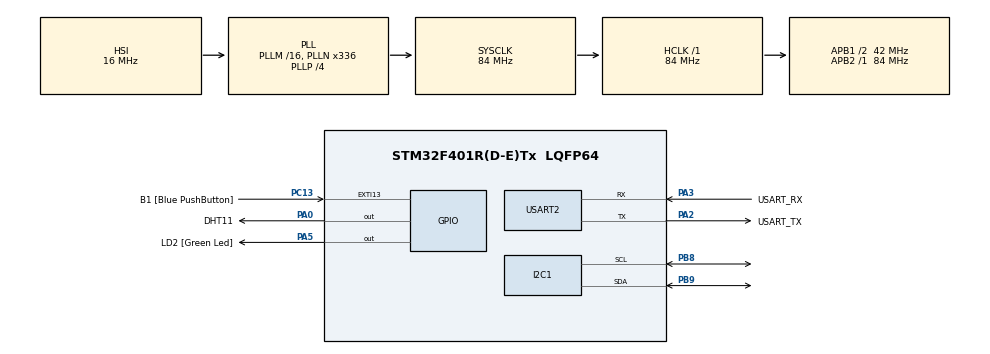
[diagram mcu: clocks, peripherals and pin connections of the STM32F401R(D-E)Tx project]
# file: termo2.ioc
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Mcu.Family=STM32F4
Mcu.Name=STM32F401R(D-E)Tx
Mcu.Package=LQFP64
NVIC.PriorityGroup=NVIC_PRIORITYGROUP_0
NVIC.TIM2_IRQn=true\:0\:0\:false\:false\:true\:true\:true\:true
PA0-WKUP.GPIO_Label=DHT11
PA0-WKUP.Signal=GPIO_Output
PA13.GPIO_Label=TMS
PA13.Mode=Serial_Wire
PA13.Signal=SYS_JTMS-SWDIO
PA14.GPIO_Label=TCK
PA14.Mode=Serial_Wire
PA14.Signal=SYS_JTCK-SWCLK
PA2.GPIO_Label=USART_TX
PA2.GPIO_Mode=GPIO_MODE_AF_PP
PA2.GPIO_PuPd=GPIO_NOPULL
PA2.GPIO_Speed=GPIO_SPEED_FREQ_LOW
PA2.Mode=Asynchronous
PA2.Signal=USART2_TX
PA3.GPIO_Label=USART_RX
PA3.GPIO_Mode=GPIO_MODE_AF_PP
PA3.GPIO_PuPd=GPIO_NOPULL
PA3.GPIO_Speed=GPIO_SPEED_FREQ_LOW
PA3.Mode=Asynchronous
PA3.Signal=USART2_RX
PA5.GPIO_Label=LD2 [Green Led]
PA5.GPIO_Mode=GPIO_MODE_OUTPUT_PP
PA5.GPIO_PuPd=GPIO_NOPULL
PA5.GPIO_Speed=GPIO_SPEED_FREQ_LOW
PA5.Signal=GPIO_Output
PB3.GPIO_Label=SWO
PB3.Signal=SYS_JTDO-SWO
PB8.Mode=I2C
PB8.Signal=I2C1_SCL
PB9.Mode=I2C
PB9.Signal=I2C1_SDA
PC13-ANTI_TAMP.GPIO_Label=B1 [Blue PushButton]
PC13-ANTI_TAMP.GPIO_ModeDefaultEXTI=GPIO_MODE_IT_FALLING
PC13-ANTI_TAMP.GPIO_PuPd=GPIO_NOPULL
PC13-ANTI_TAMP.Signal=GPXTI13
PC14-OSC32_IN.Mode=LSE-External-Oscillator
PC14-OSC32_IN.Signal=RCC_OSC32_IN
PC15-OSC32_OUT.Mode=LSE-External-Oscillator
PC15-OSC32_OUT.Signal=RCC_OSC32_OUT
PH0\ -\ OSC_IN.Mode=HSE-External-Clock-Source
PH0\ -\ OSC_IN.Signal=RCC_OSC_IN
PH1\ -\ OSC_OUT.Mode=HSE-External-Clock-Source
PH1\ -\ OSC_OUT.Signal=RCC_OSC_OUT
ProjectManager.HeapSize=0x200
ProjectManager.StackSize=0x400
ProjectManager.TargetToolchain=STM32CubeIDE
RCC.48MHZClocksFreq_Value=48000000
RCC.AHBFreq_Value=84000000
RCC.APB1CLKDivider=RCC_HCLK_DIV2
RCC.APB1Freq_Value=42000000
RCC.APB1TimFreq_Value=84000000
RCC.APB2Freq_Value=84000000
RCC.APB2TimFreq_Value=84000000
RCC.CortexFreq_Value=84000000
RCC.HCLKFreq_Value=84000000
RCC.HSE_VALUE=8000000
RCC.HSI_VALUE=16000000
RCC.PLLN=336
RCC.PLLP=RCC_PLLP_DIV4
RCC.PLLQ=7
RCC.SYSCLKFreq_VALUE=84000000
RCC.SYSCLKSource=RCC_SYSCLKSOURCE_PLLCLK
RCC.VCOOutputFreq_Value=336000000
TIM2.AutoReloadPreload=TIM_AUTORELOAD_PRELOAD_ENABLE
TIM2.Period=100000-1
TIM2.Prescaler=84-1
TIM3.AutoReloadPreload=TIM_AUTORELOAD_PRELOAD_ENABLE
TIM3.Prescaler=83
USART2.VirtualMode=VM_ASYNC
VP_TIM2_VS_ClockSourceINT.Mode=Internal
VP_TIM3_VS_ClockSourceINT.Mode=Internal
board=NUCLEO-F401RE

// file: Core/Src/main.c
/* USER CODE BEGIN Header */
/**
 **************************
 * @file           : main.c
 * @brief          : Main program body
 **************************
 * @attention
 *
 * Copyright (c) 2023 STMicroelectronics.
 * All rights reserved.
 *
 * This software is licensed under terms that can be found in the LICENSE file
 * in the root directory of this software component.
 * If no LICENSE file comes with this software, it is provided AS-IS.
 *
 **************************
 */
/* USER CODE END Header */
#include "main.h"

/* USER CODE BEGIN Includes */
#include "liquidcrystal_i2c.h"
#include <string.h>
#include <stdio.h>
#include "mk_dht11.h"
/* USER CODE END Includes */

I2C_HandleTypeDef hi2c1;

TIM_HandleTypeDef htim2;
TIM_HandleTypeDef htim3;

UART_HandleTypeDef huart2;

/* USER CODE BEGIN PV */
uint16_t digital_volt = 0;
float analog_volt = 0;
char data[64];
float temperature;
/* USER CODE END PV */

void SystemClock_Config(void);
static void MX_GPIO_Init(void);
static void MX_USART2_UART_Init(void);
static void MX_TIM2_Init(void);
static void MX_I2C1_Init(void);
static void MX_TIM3_Init(void);
/* USER CODE BEGIN PFP */
void HAL_TIM_PeriodElapsedCallback(TIM_HandleTypeDef *htim);
/* USER CODE END PFP */

int main(void)
{

  /* MCU Configuration--------------------------------------------------------*/

  /* Reset of all peripherals, Initializes the Flash interface and the Systick. */
  HAL_Init();

  /* Configure the system clock */
  SystemClock_Config();

  /* Initialize all configured peripherals */
  MX_GPIO_Init();
  MX_USART2_UART_Init();
  MX_TIM2_Init();
  MX_I2C1_Init();
  MX_TIM3_Init();
  /* USER CODE BEGIN 2 */
	char display_str[16];
	HD44780_Init(2);
	HD44780_Clear();
	HD44780_SetCursor(0, 0);
	HAL_TIM_Base_Start(&htim3);
	dht11_t dht;
		init_dht11(&dht, &htim3, DHT11_GPIO_Port, DHT11_Pin);
  /* USER CODE END 2 */

  /* Infinite loop */
  /* USER CODE BEGIN WHILE */
	while (1) {

		readDHT11(&dht);
		HD44780_Clear();
		HD44780_SetCursor(0, 0);
		sprintf(display_str, "Temp: %d C", dht.temperature);
		HD44780_PrintStr(display_str);

		HD44780_SetCursor(0, 1);
		sprintf(display_str, "Hum: %d", dht.humidty);
		HD44780_PrintStr(display_str);
		HD44780_PrintStr((uint8_t*)"%");
		HAL_Delay(100);

		HAL_Delay(1000); // 1 saniye bekleyin veya uygun bir değer kullanın
    /* USER CODE END WHILE */

	}
}

void SystemClock_Config(void)
{
  RCC_OscInitTypeDef RCC_OscInitStruct = {0};
  RCC_ClkInitTypeDef RCC_ClkInitStruct = {0};

  /** Configure the main internal regulator output voltage
  */
  __HAL_RCC_PWR_CLK_ENABLE();
  __HAL_PWR_VOLTAGESCALING_CONFIG(PWR_REGULATOR_VOLTAGE_SCALE2);

  /** Initializes the RCC Oscillators according to the specified parameters
  * in the RCC_OscInitTypeDef structure.
  */
  RCC_OscInitStruct.OscillatorType = RCC_OSCILLATORTYPE_HSI;
  RCC_OscInitStruct.HSIState = RCC_HSI_ON;
  RCC_OscInitStruct.HSICalibrationValue = RCC_HSICALIBRATION_DEFAULT;
  RCC_OscInitStruct.PLL.PLLState = RCC_PLL_ON;
  RCC_OscInitStruct.PLL.PLLSource = RCC_PLLSOURCE_HSI;
  RCC_OscInitStruct.PLL.PLLM = 16;
  RCC_OscInitStruct.PLL.PLLN = 336;
  RCC_OscInitStruct.PLL.PLLP = RCC_PLLP_DIV4;
  RCC_OscInitStruct.PLL.PLLQ = 7;
  if (HAL_RCC_OscConfig(&RCC_OscInitStruct) != HAL_OK)
  {
    Error_Handler();
  }

  /** Initializes the CPU, AHB and APB buses clocks
  */
  RCC_ClkInitStruct.ClockType = RCC_CLOCKTYPE_HCLK|RCC_CLOCKTYPE_SYSCLK
                              |RCC_CLOCKTYPE_PCLK1|RCC_CLOCKTYPE_PCLK2;
  RCC_ClkInitStruct.SYSCLKSource = RCC_SYSCLKSOURCE_PLLCLK;
  RCC_ClkInitStruct.AHBCLKDivider = RCC_SYSCLK_DIV1;
  RCC_ClkInitStruct.APB1CLKDivider = RCC_HCLK_DIV2;
  RCC_ClkInitStruct.APB2CLKDivider = RCC_HCLK_DIV1;

  if (HAL_RCC_ClockConfig(&RCC_ClkInitStruct, FLASH_LATENCY_2) != HAL_OK)
  {
    Error_Handler();
  }
}

static void MX_I2C1_Init(void)
{

  hi2c1.Instance = I2C1;
  hi2c1.Init.ClockSpeed = 100000;
  hi2c1.Init.DutyCycle = I2C_DUTYCYCLE_2;
  hi2c1.Init.OwnAddress1 = 0;
  hi2c1.Init.AddressingMode = I2C_ADDRESSINGMODE_7BIT;
  hi2c1.Init.DualAddressMode = I2C_DUALADDRESS_DISABLE;
  hi2c1.Init.OwnAddress2 = 0;
  hi2c1.Init.GeneralCallMode = I2C_GENERALCALL_DISABLE;
  hi2c1.Init.NoStretchMode = I2C_NOSTRETCH_DISABLE;
  if (HAL_I2C_Init(&hi2c1) != HAL_OK)
  {
    Error_Handler();
  }

}

static void MX_TIM2_Init(void)
{

  TIM_ClockConfigTypeDef sClockSourceConfig = {0};
  TIM_MasterConfigTypeDef sMasterConfig = {0};

  htim2.Instance = TIM2;
  htim2.Init.Prescaler = 84-1;
  htim2.Init.CounterMode = TIM_COUNTERMODE_UP;
  htim2.Init.Period = 100000-1;
  htim2.Init.ClockDivision = TIM_CLOCKDIVISION_DIV1;
  htim2.Init.AutoReloadPreload = TIM_AUTORELOAD_PRELOAD_ENABLE;
  if (HAL_TIM_Base_Init(&htim2) != HAL_OK)
  {
    Error_Handler();
  }
  sClockSourceConfig.ClockSource = TIM_CLOCKSOURCE_INTERNAL;
  if (HAL_TIM_ConfigClockSource(&htim2, &sClockSourceConfig) != HAL_OK)
  {
    Error_Handler();
  }
  sMasterConfig.MasterOutputTrigger = TIM_TRGO_RESET;
  sMasterConfig.MasterSlaveMode = TIM_MASTERSLAVEMODE_DISABLE;
  if (HAL_TIMEx_MasterConfigSynchronization(&htim2, &sMasterConfig) != HAL_OK)
  {
    Error_Handler();
  }

}

static void MX_TIM3_Init(void)
{

  TIM_ClockConfigTypeDef sClockSourceConfig = {0};
  TIM_MasterConfigTypeDef sMasterConfig = {0};

  htim3.Instance = TIM3;
  htim3.Init.Prescaler = 83;
  htim3.Init.CounterMode = TIM_COUNTERMODE_UP;
  htim3.Init.Period = 65535;
  htim3.Init.ClockDivision = TIM_CLOCKDIVISION_DIV1;
  htim3.Init.AutoReloadPreload = TIM_AUTORELOAD_PRELOAD_ENABLE;
  if (HAL_TIM_Base_Init(&htim3) != HAL_OK)
  {
    Error_Handler();
  }
  sClockSourceConfig.ClockSource = TIM_CLOCKSOURCE_INTERNAL;
  if (HAL_TIM_ConfigClockSource(&htim3, &sClockSourceConfig) != HAL_OK)
  {
    Error_Handler();
  }
  sMasterConfig.MasterOutputTrigger = TIM_TRGO_RESET;
  sMasterConfig.MasterSlaveMode = TIM_MASTERSLAVEMODE_DISABLE;
  if (HAL_TIMEx_MasterConfigSynchronization(&htim3, &sMasterConfig) != HAL_OK)
  {
    Error_Handler();
  }

}

static void MX_USART2_UART_Init(void)
{

  huart2.Instance = USART2;
  huart2.Init.BaudRate = 115200;
  huart2.Init.WordLength = UART_WORDLENGTH_8B;
  huart2.Init.StopBits = UART_STOPBITS_1;
  huart2.Init.Parity = UART_PARITY_NONE;
  huart2.Init.Mode = UART_MODE_TX_RX;
  huart2.Init.HwFlowCtl = UART_HWCONTROL_NONE;
  huart2.Init.OverSampling = UART_OVERSAMPLING_16;
  if (HAL_UART_Init(&huart2) != HAL_OK)
  {
    Error_Handler();
  }

}

static void MX_GPIO_Init(void)
{
  GPIO_InitTypeDef GPIO_InitStruct = {0};

  /* GPIO Ports Clock Enable */
  __HAL_RCC_GPIOC_CLK_ENABLE();
  __HAL_RCC_GPIOH_CLK_ENABLE();
  __HAL_RCC_GPIOA_CLK_ENABLE();
  __HAL_RCC_GPIOB_CLK_ENABLE();

  /*Configure GPIO pin Output Level */
  HAL_GPIO_WritePin(GPIOA, DHT11_Pin|LD2_Pin, GPIO_PIN_RESET);

  /*Configure GPIO pin : B1_Pin */
  GPIO_InitStruct.Pin = B1_Pin;
  GPIO_InitStruct.Mode = GPIO_MODE_IT_FALLING;
  GPIO_InitStruct.Pull = GPIO_NOPULL;
  HAL_GPIO_Init(B1_GPIO_Port, &GPIO_InitStruct);

  /*Configure GPIO pins : DHT11_Pin LD2_Pin */
  GPIO_InitStruct.Pin = DHT11_Pin|LD2_Pin;
  GPIO_InitStruct.Mode = GPIO_MODE_OUTPUT_PP;
  GPIO_InitStruct.Pull = GPIO_NOPULL;
  GPIO_InitStruct.Speed = GPIO_SPEED_FREQ_LOW;
  HAL_GPIO_Init(GPIOA, &GPIO_InitStruct);

}

void Error_Handler(void)
{
	__disable_irq();
	while (1) {
	}
}
